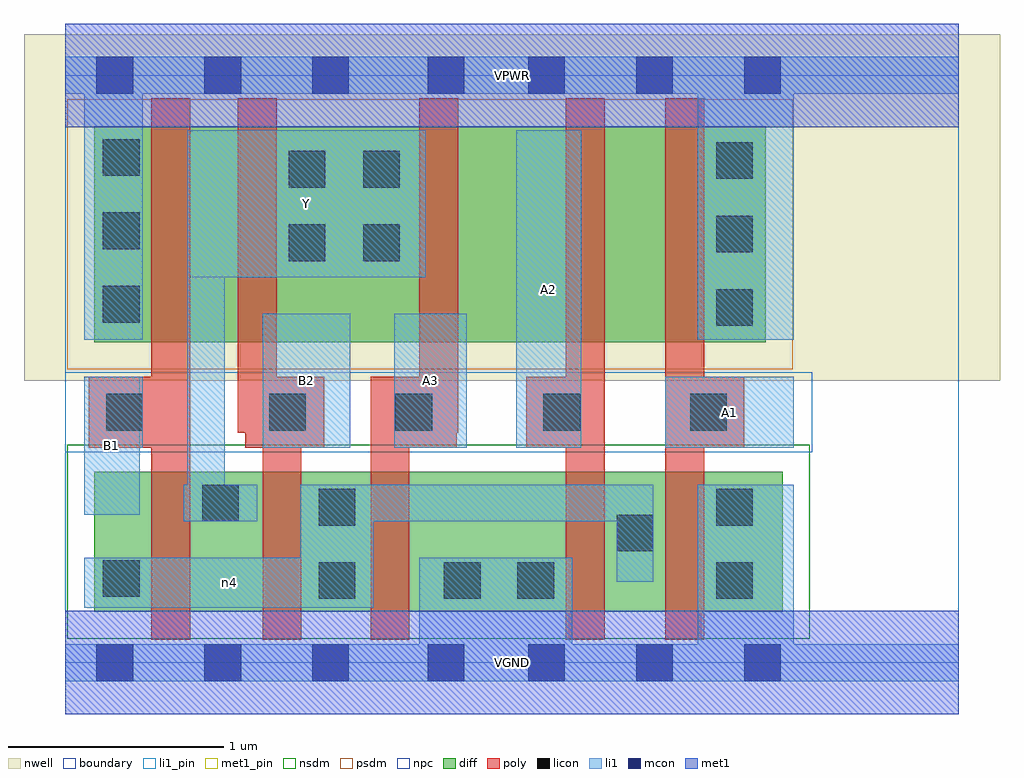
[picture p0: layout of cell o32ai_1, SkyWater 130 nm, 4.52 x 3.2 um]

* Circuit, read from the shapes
.subckt o32ai_1 A1 A2 A3 B1 B2 VGND VPWR Y n4
XM1 Y B1 n4 VSUBS sky130_fd_pr__nfet_01v8 w=0.65 l=0.18
XM2 n4 B2 Y VSUBS sky130_fd_pr__nfet_01v8 w=0.65 l=0.18
XM3 VGND A3 n4 VSUBS sky130_fd_pr__nfet_01v8 w=0.65 l=0.18
XM4 n4 A2 VGND VSUBS sky130_fd_pr__nfet_01v8 w=0.65 l=0.18
XM5 VGND A1 n4 VSUBS sky130_fd_pr__nfet_01v8 w=0.65 l=0.18
XM6 n1 B1 VPWR n2 sky130_fd_pr__pfet_01v8 w=1 l=0.18
XM7 Y B2 n1 n2 sky130_fd_pr__pfet_01v8 w=1 l=0.18
XM8 n3 A3 Y n2 sky130_fd_pr__pfet_01v8 w=1 l=0.18
XM9 n5 A2 n3 n2 sky130_fd_pr__pfet_01v8 w=1 l=0.18
XM10 VPWR A1 n5 n2 sky130_fd_pr__pfet_01v8 w=1 l=0.18
.ends

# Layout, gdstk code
import gdstk
lib = gdstk.Library(unit=1e-6, precision=1e-09)
def R(c, l, rs):  # rectangles x0, y0, x1, y1
    for r in rs: c.add(gdstk.rectangle(r[:2], r[2:], *l))
def A(c, l, x, y, w, h, nx, ny, dx, dy):  # array of equal rectangles
    R(c, l, [(x+i*dx, y+j*dy, x+i*dx+w, y+j*dy+h) for i in range(nx) for j in range(ny)])
nwell = (64, 20)
diff = (65, 20)
poly = (66, 20)
licon = (66, 44)
li1_pin = (67, 16)
li1 = (67, 20)
mcon = (67, 44)
met1_pin = (68, 16)
met1 = (68, 20)
nsdm = (93, 44)
psdm = (94, 20)
npc = (95, 20)
boundary = (235, 4)

o32ai_1 = lib.new_cell('o32ai_1')
R(o32ai_1, nwell, [(-0.19,1.305,4.33,2.91), (0,1.305,4.14,2.91)])
R(o32ai_1, diff, [(0.135,0.235,3.325,0.885), (0.135,1.485,3.245,2.485)])
R(o32ai_1, poly, [(0.4,0.105,0.58,2.615), (0.915,0.105,1.095,1.325), (1.415,0.105,1.595,1.325), (2.32,0.105,2.5,2.615), (2.78,0.105,2.96,2.615), (0.11,0.995,0.58,1.325), (0.835,0.995,1.2,1.325), (1.595,0.995,1.815,1.325), (2.135,0.995,2.5,1.325), (2.78,0.995,3.145,1.325), (0.8,1.065,0.98,2.615), (1.64,1.065,1.82,2.615)])
A(o32ai_1, licon, 3.015, 1.56, 0.17, 0.17, 1, 3, 0, 0.34)
A(o32ai_1, licon, 0.175, 1.575, 0.17, 0.17, 1, 3, 0, 0.34)
R(o32ai_1, licon, [(1.175,0.295,1.345,0.465), (1.755,0.295,1.925,0.465), (2.095,0.295,2.265,0.465), (3.015,0.295,3.185,0.465), (0.175,0.305,0.345,0.475), (2.555,0.515,2.725,0.685), (1.175,0.635,1.345,0.805), (3.015,0.635,3.185,0.805), (0.635,0.655,0.805,0.825), (0.19,1.075,0.36,1.245), (0.945,1.075,1.115,1.245), (1.53,1.075,1.7,1.245), (2.215,1.075,2.385,1.245), (2.895,1.075,3.065,1.245), (1.035,1.86,1.205,2.03), (1.38,1.86,1.55,2.03), (1.035,2.2,1.205,2.37), (1.38,2.2,1.55,2.37)])
R(o32ai_1, li1_pin, [(0.09,0.685,0.345,1.325), (0.915,0.995,1.32,1.615), (1.525,0.995,1.86,1.615), (2.09,0.995,2.39,2.465), (2.78,0.995,3.375,1.325), (0.565,1.785,1.67,2.465)])
R(o32ai_1, li1, [(0,-0.085,4.14,0.085), (1.64,-0.085,2.35,0.485), (2.93,-0.085,3.375,0.825), (0.09,0.255,1.43,0.485), (1.09,0.255,1.43,0.825), (2.555,0.375,2.725,0.825), (0.55,0.655,0.89,0.825), (0.565,0.655,0.74,2.465), (1.09,0.655,2.725,0.825), (0.09,0.685,0.345,1.325), (0.09,0.995,0.36,1.325), (0.915,0.995,1.32,1.615), (1.525,0.995,1.86,1.615), (2.09,0.995,2.39,2.465), (2.78,0.995,3.375,1.325), (0.09,1.495,0.36,2.805), (2.93,1.495,3.375,2.805), (0.565,1.785,1.67,2.465), (0,2.635,4.14,2.805)])
A(o32ai_1, mcon, 0.145, -0.085, 0.17, 0.17, 3, 2, 0.5, 2.72)
A(o32ai_1, mcon, 2.145, -0.085, 0.17, 0.17, 3, 2, 0.5, 2.72)
R(o32ai_1, mcon, [(1.68,-0.085,1.85,0.085), (1.68,2.635,1.85,2.805)])
R(o32ai_1, met1_pin, [(0,-0.24,4.14,0.24), (0,2.48,4.14,2.96)])
R(o32ai_1, met1, [(0,-0.24,4.14,0.24), (0,2.48,4.14,2.96)])
R(o32ai_1, nsdm, [(0.01,0.11,3.45,1.01)])
R(o32ai_1, psdm, [(0.01,1.36,3.37,2.61)])
R(o32ai_1, npc, [(0,0.975,3.46,1.345)])
R(o32ai_1, boundary, [(0,0,4.14,2.72)])
o32ai_1.add(gdstk.Label('A1', (3.077,1.16), layer=67, texttype=5))
o32ai_1.add(gdstk.Label('A2', (2.24,1.73), layer=67, texttype=5))
o32ai_1.add(gdstk.Label('A3', (1.692,1.305), layer=67, texttype=5))
o32ai_1.add(gdstk.Label('B1', (0.217,1.005), layer=67, texttype=5))
o32ai_1.add(gdstk.Label('B2', (1.117,1.305), layer=67, texttype=5))
o32ai_1.add(gdstk.Label('Y', (1.117,2.125), layer=67, texttype=5))
o32ai_1.add(gdstk.Label('n4', (0.76,0.37), layer=67, texttype=5))
o32ai_1.add(gdstk.Label('VPWR', (2.07,2.72), layer=68, texttype=5))
o32ai_1.add(gdstk.Label('VGND', (2.07,0), layer=68, texttype=5))
o32ai_1.add(gdstk.Label('A1', (3.077,1.16), layer=67, texttype=16))
o32ai_1.add(gdstk.Label('A2', (2.24,1.73), layer=67, texttype=16))
o32ai_1.add(gdstk.Label('A3', (1.692,1.305), layer=67, texttype=16))
o32ai_1.add(gdstk.Label('B1', (0.217,1.005), layer=67, texttype=16))
o32ai_1.add(gdstk.Label('B2', (1.117,1.305), layer=67, texttype=16))
o32ai_1.add(gdstk.Label('Y', (1.117,2.125), layer=67, texttype=16))
o32ai_1.add(gdstk.Label('VPWR', (2.07,2.72), layer=68, texttype=16))
o32ai_1.add(gdstk.Label('VGND', (2.07,0), layer=68, texttype=16))

lib.write_gds('o32ai_1.gds')
